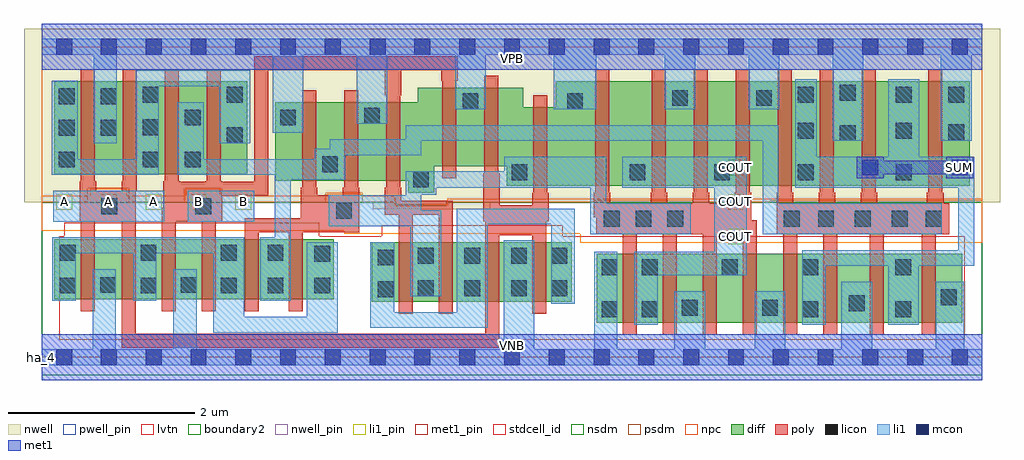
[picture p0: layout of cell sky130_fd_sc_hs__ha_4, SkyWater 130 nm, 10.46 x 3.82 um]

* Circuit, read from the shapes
.subckt sky130_fd_sc_hs__ha_4 A B COUT SUM VGND VNB VPB VPWR
XM1 VGND A n1 VNB sky130_fd_pr__nfet_01v8_lvt w=0.64 l=0.15 m=2
XM2 VGND B n1 VNB sky130_fd_pr__nfet_01v8_lvt w=0.64 l=0.15 m=2
XM3 n2 n3 n1 VNB sky130_fd_pr__nfet_01v8_lvt w=0.64 l=0.15 m=2
XM4 n3 B n4 VNB sky130_fd_pr__nfet_01v8_lvt w=0.64 l=0.15 m=2
XM5 VGND A n4 VNB sky130_fd_pr__nfet_01v8_lvt w=0.64 l=0.15 m=2
XM6 COUT n3 VGND VNB sky130_fd_pr__nfet_01v8_lvt w=0.74 l=0.15 m=4
XM7 SUM n2 VGND VNB sky130_fd_pr__nfet_01v8_lvt w=0.74 l=0.15 m=4
XM8 VPWR A n5 VPB sky130_fd_pr__pfet_01v8 w=1 l=0.15 m=2
XM9 n2 B n5 VPB sky130_fd_pr__pfet_01v8 w=1 l=0.15 m=2
XM10 n2 n3 VPWR VPB sky130_fd_pr__pfet_01v8 w=0.84 l=0.15 m=2
XM11 n3 B VPWR VPB sky130_fd_pr__pfet_01v8 w=0.84 l=0.15 m=2
XM12 n3 A VPWR VPB sky130_fd_pr__pfet_01v8 w=0.84 l=0.15 m=2
XM13 COUT n3 VPWR VPB sky130_fd_pr__pfet_01v8 w=1.12 l=0.15 m=4
XM14 SUM n2 VPWR VPB sky130_fd_pr__pfet_01v8 w=1.12 l=0.15 m=4
.ends

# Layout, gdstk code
import gdstk
lib = gdstk.Library(unit=1e-6, precision=1e-09)
def R(c, l, rs):  # rectangles x0, y0, x1, y1
    for r in rs: c.add(gdstk.rectangle(r[:2], r[2:], *l))
def A(c, l, x, y, w, h, nx, ny, dx, dy):  # array of equal rectangles
    R(c, l, [(x+i*dx, y+j*dy, x+i*dx+w, y+j*dy+h) for i in range(nx) for j in range(ny)])
def P(c, l, *ps):  # polygons
    for p in ps: c.add(gdstk.Polygon(p, *l))
nwell_pin = (64, 16)
nwell = (64, 20)
diff = (65, 20)
poly = (66, 20)
licon = (66, 44)
li1_pin = (67, 16)
li1 = (67, 20)
mcon = (67, 44)
met1_pin = (68, 16)
met1 = (68, 20)
stdcell_id = (81, 4)
nsdm = (93, 44)
psdm = (94, 20)
npc = (95, 20)
pwell_pin = (122, 16)
lvtn = (125, 44)
boundary2 = (236, 0)

sky130_fd_sc_hs__ha_4 = lib.new_cell('sky130_fd_sc_hs__ha_4')
R(sky130_fd_sc_hs__ha_4, nwell_pin, [(0,3.085,10.08,3.33)])
P(sky130_fd_sc_hs__ha_4, nwell, [(10.27,3.52),(-0.19,3.52),(-0.19,1.66),(3.545,1.66),(3.545,1.585),(4.805,1.585),(4.805,1.66),(10.27,1.66)])
R(sky130_fd_sc_hs__ha_4, diff, [(5.95,0.37,9.865,1.11), (3.535,0.595,5.68,1.235), (0.135,0.625,3.13,1.265), (0.135,1.96,2.205,2.96)])
P(sky130_fd_sc_hs__ha_4, diff, [(9.945,2.96),(5.51,2.96),(5.51,2.68),(5.16,2.68),(5.16,2.89),(4.03,2.89),(4.03,2.735),(2.505,2.735),(2.505,1.895),(3.93,1.895),(3.93,1.765),(4.205,1.765),(4.205,2.05),(4.985,2.05),(4.985,1.84),(9.945,1.84)])
P(sky130_fd_sc_hs__ha_4, poly, [(3.405,1.82),(3.39,1.82),(3.39,2.865),(3.24,2.865),(3.24,1.82),(3.225,1.82),(3.225,1.735),(2.955,1.735),(2.955,1.82),(2.94,1.82),(2.94,2.865),(2.79,2.865),(2.79,1.82),(2.775,1.82),(2.775,1.49),(2.175,1.49),(2.175,0.495),(2.325,0.495),(2.325,1.34),(2.645,1.34),(2.645,0.495),(2.795,0.495),(2.795,1.34),(3.405,1.34)],
  [(4.46,3.225),(2.28,3.225),(2.28,1.88),(1.935,1.88),(1.935,1.885),(1.92,1.885),(1.92,3.09),(1.77,3.09),(1.77,1.885),(1.755,1.885),(1.755,1.88),(1.485,1.88),(1.485,1.885),(1.47,1.885),(1.47,3.09),(1.32,3.09),(1.32,1.885),(1.305,1.885),(1.305,1.605),(1.285,1.605),(1.285,0.495),(1.435,0.495),(1.435,1.455),(1.715,1.455),(1.715,0.495),(1.865,0.495),(1.865,1.455),(1.935,1.455),(1.935,1.73),(2.43,1.73),(2.43,3.075),(3.675,3.075),(3.675,2.81),(3.69,2.81),(3.69,1.82),(3.675,1.82),(3.675,1.53),(3.825,1.53),(3.825,0.465),(3.975,0.465),(3.975,1.53),(4.255,1.53),(4.255,0.465),(4.405,0.465),(4.405,1.68),(3.855,1.68),(3.855,1.82),(3.84,1.82),(3.84,2.81),(3.855,2.81),(3.855,3.075),(4.28,3.075),(4.28,2.965),(4.295,2.965),(4.295,1.92),(4.445,1.92),(4.445,2.965),(4.46,2.965)],
  [(5.435,1.765),(5.42,1.765),(5.42,2.81),(5.27,2.81),(5.27,1.765),(5.255,1.765),(5.255,1.63),(4.91,1.63),(4.91,1.975),(4.895,1.975),(4.895,3.02),(4.745,3.02),(4.745,1.975),(4.73,1.975),(4.73,1.46),(4.755,1.46),(4.755,0.255),(1.005,0.255),(1.005,1.785),(1.02,1.785),(1.02,3.09),(0.87,3.09),(0.87,1.885),(0.855,1.885),(0.855,1.785),(0.585,1.785),(0.585,1.885),(0.57,1.885),(0.57,3.09),(0.42,3.09),(0.42,1.885),(0.405,1.885),(0.405,1.455),(0.42,1.455),(0.42,0.495),(0.57,0.495),(0.57,1.455),(0.855,1.455),(0.855,0.105),(4.905,0.105),(4.905,1.31),(5.255,1.31),(5.255,0.465),(5.405,0.465),(5.405,1.46),(5.435,1.46)],
  [(7.665,1.47),(7.605,1.47),(7.605,1.765),(7.59,1.765),(7.59,3.09),(7.44,3.09),(7.44,1.765),(7.425,1.765),(7.425,1.65),(7.155,1.65),(7.155,1.765),(7.14,1.765),(7.14,3.09),(6.99,3.09),(6.99,1.765),(6.975,1.765),(6.975,1.65),(6.705,1.65),(6.705,1.765),(6.69,1.765),(6.69,3.09),(6.54,3.09),(6.54,1.765),(6.525,1.765),(6.525,1.65),(6.095,1.65),(6.095,1.765),(6.08,1.765),(6.08,3.09),(5.93,3.09),(5.93,1.765),(5.915,1.765),(5.915,1.5),(5.945,1.5),(5.945,1.32),(6.225,1.32),(6.225,0.24),(6.375,0.24),(6.375,1.32),(6.655,1.32),(6.655,0.24),(6.805,0.24),(6.805,1.32),(7.085,1.32),(7.085,0.24),(7.235,0.24),(7.235,1.32),(7.515,1.32),(7.515,0.24),(7.665,0.24)],
  [(9.725,1.65),(9.665,1.65),(9.665,1.765),(9.65,1.765),(9.65,3.09),(9.5,3.09),(9.5,1.765),(9.485,1.765),(9.485,1.65),(8.955,1.65),(8.955,1.765),(8.94,1.765),(8.94,3.09),(8.79,3.09),(8.79,1.765),(8.775,1.765),(8.775,1.65),(8.505,1.65),(8.505,1.765),(8.49,1.765),(8.49,3.09),(8.34,3.09),(8.34,1.765),(8.325,1.765),(8.325,1.65),(8.055,1.65),(8.055,1.765),(8.04,1.765),(8.04,3.09),(7.89,3.09),(7.89,1.765),(7.875,1.765),(7.875,1.32),(7.945,1.32),(7.945,0.24),(8.095,0.24),(8.095,1.32),(8.375,1.32),(8.375,0.24),(8.525,0.24),(8.525,1.32),(8.875,1.32),(8.875,0.24),(9.025,0.24),(9.025,1.32),(9.43,1.32),(9.43,0.24),(9.58,0.24),(9.58,1.32),(9.725,1.32)])
A(sky130_fd_sc_hs__ha_4, licon, 4.03, 0.655, 0.17, 0.17, 3, 2, 0.5, 0.35)
A(sky130_fd_sc_hs__ha_4, licon, 1.92, 0.685, 0.17, 0.17, 3, 1, 0.5, 0)
A(sky130_fd_sc_hs__ha_4, licon, 6.43, 0.88, 0.17, 0.17, 3, 1, 0.86, 0)
A(sky130_fd_sc_hs__ha_4, licon, 6.025, 1.4, 0.17, 0.17, 3, 1, 0.34, 0)
A(sky130_fd_sc_hs__ha_4, licon, 8.32, 1.4, 0.17, 0.17, 3, 1, 0.395, 0)
A(sky130_fd_sc_hs__ha_4, licon, 0.185, 2.035, 0.17, 0.17, 1, 3, 0, 0.34)
R(sky130_fd_sc_hs__ha_4, licon, [(6,0.43,6.17,0.6), (6.43,0.43,6.6,0.6), (8.15,0.43,8.32,0.6), (9.15,0.43,9.32,0.6), (6.86,0.445,7.03,0.615), (7.72,0.445,7.89,0.615), (8.65,0.495,8.82,0.665), (9.635,0.56,9.805,0.73), (3.6,0.645,3.77,0.815), (5.46,0.655,5.63,0.825), (0.195,0.685,0.365,0.855), (1.06,0.685,1.23,0.855), (0.625,0.69,0.795,0.86), (1.49,0.69,1.66,0.86), (6,0.88,6.17,1.05), (9.15,0.88,9.32,1.05), (3.6,0.985,3.77,1.155), (5.46,1.005,5.63,1.175), (2.92,1.025,3.09,1.195), (0.195,1.035,0.365,1.205), (1.06,1.035,1.23,1.205), (1.92,1.035,2.09,1.205), (2.42,1.035,2.59,1.205), (7.955,1.4,8.125,1.57), (9.475,1.4,9.645,1.57), (3.155,1.485,3.325,1.655), (0.64,1.535,0.81,1.705), (1.645,1.535,1.815,1.705), (3.98,1.825,4.15,1.995), (5.035,1.9,5.205,2.07), (6.3,1.9,6.47,2.07), (7.205,1.9,7.375,2.07), (8.105,1.9,8.275,2.07), (9.155,1.9,9.325,2.07), (3.005,1.985,3.175,2.155), (1.085,2.035,1.255,2.205), (1.535,2.035,1.705,2.205), (1.985,2.295,2.155,2.465), (8.555,2.32,8.725,2.49), (9.715,2.33,9.885,2.5), (8.105,2.345,8.275,2.515), (9.155,2.345,9.325,2.515), (0.635,2.375,0.805,2.545), (1.085,2.38,1.255,2.55), (1.535,2.485,1.705,2.655), (2.555,2.485,2.725,2.655), (3.455,2.505,3.625,2.675), (4.51,2.66,4.68,2.83), (5.63,2.66,5.8,2.83), (6.755,2.695,6.925,2.865), (7.655,2.695,7.825,2.865), (0.635,2.715,0.805,2.885), (1.085,2.73,1.255,2.9), (1.985,2.73,2.155,2.9), (8.105,2.73,8.275,2.9), (9.155,2.73,9.325,2.9), (9.715,2.73,9.885,2.9), (8.555,2.75,8.725,2.92)])
A(sky130_fd_sc_hs__ha_4, li1_pin, 7.355, 1.21, 0.17, 0.17, 1, 3, 0, 0.37)
A(sky130_fd_sc_hs__ha_4, li1_pin, 0.155, 1.58, 0.17, 0.17, 5, 1, 0.48, 0)
R(sky130_fd_sc_hs__ha_4, li1, [(0.125,1.455,1.315,1.785), (1.565,1.455,2.275,1.785)])
P(sky130_fd_sc_hs__ha_4, li1, [(2.235,3.075),(1.005,3.075),(1.005,2.125),(0.385,2.125),(0.385,2.965),(0.105,2.965),(0.105,1.955),(1.255,1.955),(1.255,2.905),(1.905,2.905),(1.905,2.295),(2.235,2.295)],
  [(3.17,1.235),(2.84,1.235),(2.84,0.435),(2.17,0.435),(2.17,1.285),(0.115,1.285),(0.115,0.605),(0.365,0.605),(0.365,1.115),(0.98,1.115),(0.98,0.605),(1.23,0.605),(1.23,1.115),(1.84,1.115),(1.84,0.265),(3.17,0.265)],
  [(5.71,1.595),(4.45,1.595),(4.45,0.485),(3.78,0.485),(3.78,1.235),(3.52,1.235),(3.52,0.315),(4.78,0.315),(4.78,1.425),(5.46,1.425),(5.46,0.575),(5.71,0.575)],
  [(10.08,3.415),(0,3.415),(0,3.245),(0.555,3.245),(0.555,2.295),(0.805,2.295),(0.805,3.245),(2.475,3.245),(2.475,2.405),(2.805,2.405),(2.805,3.245),(3.375,3.245),(3.375,2.505),(3.705,2.505),(3.705,3.245),(4.43,3.245),(4.43,2.66),(4.76,2.66),(4.76,3.245),(5.49,3.245),(5.49,2.66),(5.945,2.66),(5.945,3.245),(6.675,3.245),(6.675,2.66),(7.005,2.66),(7.005,3.245),(7.575,3.245),(7.575,2.66),(7.905,2.66),(7.905,3.245),(8.475,3.245),(8.475,2.32),(8.805,2.32),(8.805,3.245),(9.635,3.245),(9.635,2.32),(9.965,2.32),(9.965,3.245),(10.08,3.245)],
  [(6.955,1.65),(6.05,1.65),(6.05,2.15),(4.955,2.15),(4.955,1.995),(3.9,1.995),(3.9,1.735),(3.075,1.735),(3.075,1.405),(3.95,1.405),(3.95,0.655),(4.28,0.655),(4.28,1.575),(4.07,1.575),(4.07,1.745),(4.23,1.745),(4.23,1.82),(5.88,1.82),(5.88,1.32),(6.955,1.32)],
  [(7.555,2.15),(6.22,2.15),(6.22,1.82),(7.21,1.82),(7.21,1.13),(6.35,1.13),(6.35,0.35),(6.6,0.35),(6.6,0.88),(7.555,0.88)],
  [(9.995,2.15),(9.405,2.15),(9.405,2.98),(9.075,2.98),(9.075,2.15),(8.305,2.15),(8.305,2.98),(8.075,2.98),(8.075,1.82),(9.825,1.82),(9.825,1.15),(8.15,1.15),(8.15,0.35),(8.4,0.35),(8.4,0.98),(9.07,0.98),(9.07,0.35),(9.4,0.35),(9.4,0.98),(9.995,0.98)],
  [(9.645,1.65),(7.895,1.65),(7.895,2.49),(3.9,2.49),(3.9,2.335),(3.085,2.335),(3.085,2.235),(2.925,2.235),(2.925,2.125),(1.735,2.125),(1.735,2.735),(1.455,2.735),(1.455,1.955),(2.5,1.955),(2.5,1.285),(2.34,1.285),(2.34,0.605),(2.67,0.605),(2.67,1.905),(3.255,1.905),(3.255,2.165),(4.07,2.165),(4.07,2.32),(7.725,2.32),(7.725,1.32),(9.645,1.32)],
  [(10.08,0.085),(9.885,0.085),(9.885,0.81),(9.58,0.81),(9.58,0.085),(8.9,0.085),(8.9,0.81),(8.57,0.81),(8.57,0.085),(7.97,0.085),(7.97,0.71),(7.64,0.71),(7.64,0.085),(7.11,0.085),(7.11,0.71),(6.78,0.71),(6.78,0.085),(6.17,0.085),(6.17,1.13),(5.92,1.13),(5.92,0.085),(5.28,0.085),(5.28,1.255),(4.95,1.255),(4.95,0.085),(1.66,0.085),(1.66,0.945),(1.41,0.945),(1.41,0.085),(0.795,0.085),(0.795,0.945),(0.545,0.945),(0.545,0.085),(0,0.085),(0,-0.085),(10.08,-0.085)])
A(sky130_fd_sc_hs__ha_4, mcon, 0.155, -0.085, 0.17, 0.17, 21, 2, 0.48, 3.33)
R(sky130_fd_sc_hs__ha_4, mcon, [(8.795,1.95,8.965,2.12), (9.755,1.95,9.925,2.12)])
R(sky130_fd_sc_hs__ha_4, met1_pin, [(0,0,10.08,0.245), (9.755,1.95,9.925,2.12), (0,3.085,10.08,3.33)])
R(sky130_fd_sc_hs__ha_4, met1, [(0,-0.245,10.08,0.245), (0,3.085,10.08,3.575)])
P(sky130_fd_sc_hs__ha_4, met1, [(9.985,2.15),(9.695,2.15),(9.695,2.105),(9.025,2.105),(9.025,2.15),(8.735,2.15),(8.735,1.92),(9.025,1.92),(9.025,1.965),(9.695,1.965),(9.695,1.92),(9.985,1.92)])
R(sky130_fd_sc_hs__ha_4, stdcell_id, [(0,0,10.08,3.33)])
P(sky130_fd_sc_hs__ha_4, nsdm, [(10.08,1.66),(4.335,1.66),(4.335,1.635),(3.8,1.635),(3.8,1.66),(0,1.66),(0,-0.19),(10.08,-0.19)])
P(sky130_fd_sc_hs__ha_4, psdm, [(10.08,3.52),(0,3.52),(0,1.66),(0.495,1.66),(0.495,1.815),(0.93,1.815),(0.93,1.66),(1.535,1.66),(1.535,1.815),(1.925,1.815),(1.925,1.66),(3.045,1.66),(3.045,1.765),(3.435,1.765),(3.435,1.66),(3.8,1.66),(3.8,1.635),(4.335,1.635),(4.335,1.66),(5.915,1.66),(5.915,1.68),(6.985,1.68),(6.985,1.66),(7.8,1.66),(7.8,1.68),(10.08,1.68)])
P(sky130_fd_sc_hs__ha_4, npc, [(10.08,1.7),(4.345,1.7),(4.345,1.625),(3.79,1.625),(3.79,1.73),(3.425,1.73),(3.425,1.755),(3.055,1.755),(3.055,1.73),(1.915,1.73),(1.915,1.805),(1.545,1.805),(1.545,1.73),(0.91,1.73),(0.91,1.805),(0.52,1.805),(0.52,1.73),(0,1.73),(0,1.355),(3.24,1.355),(3.24,1.325),(5.77,1.325),(5.77,1.23),(10.08,1.23)])
R(sky130_fd_sc_hs__ha_4, pwell_pin, [(0,0,10.08,0.245)])
P(sky130_fd_sc_hs__ha_4, lvtn, [(9.89,1.3),(5.585,1.3),(5.585,1.415),(3.645,1.415),(3.645,1.3),(2.975,1.3),(2.975,1.445),(0.24,1.445),(0.24,1.3),(0.19,1.3),(0.19,0.19),(9.89,0.19)])
R(sky130_fd_sc_hs__ha_4, boundary2, [(0,0,10.08,3.33)])
sky130_fd_sc_hs__ha_4.add(gdstk.Label('ha_4', (0,0), layer=83, texttype=44))
sky130_fd_sc_hs__ha_4.add(gdstk.Label('VNB', (5.04,0.123), layer=64, texttype=59))
sky130_fd_sc_hs__ha_4.add(gdstk.Label('VPB', (5.04,3.208), layer=64, texttype=5))
sky130_fd_sc_hs__ha_4.add(gdstk.Label('SUM', (9.84,2.035), layer=68, texttype=5))
sky130_fd_sc_hs__ha_4.add(gdstk.Label('VPWR', (5.04,3.208), layer=68, texttype=5))
sky130_fd_sc_hs__ha_4.add(gdstk.Label('VGND', (5.04,0.123), layer=68, texttype=5))
sky130_fd_sc_hs__ha_4.add(gdstk.Label('COUT', (7.44,1.295), layer=67, texttype=5))
sky130_fd_sc_hs__ha_4.add(gdstk.Label('COUT', (7.44,1.665), layer=67, texttype=5))
sky130_fd_sc_hs__ha_4.add(gdstk.Label('COUT', (7.44,2.035), layer=67, texttype=5))
sky130_fd_sc_hs__ha_4.add(gdstk.Label('B', (1.68,1.665), layer=67, texttype=5))
sky130_fd_sc_hs__ha_4.add(gdstk.Label('B', (2.16,1.665), layer=67, texttype=5))
sky130_fd_sc_hs__ha_4.add(gdstk.Label('A', (0.24,1.665), layer=67, texttype=5))
sky130_fd_sc_hs__ha_4.add(gdstk.Label('A', (0.72,1.665), layer=67, texttype=5))
sky130_fd_sc_hs__ha_4.add(gdstk.Label('A', (1.2,1.665), layer=67, texttype=5))

lib.write_gds('sky130_fd_sc_hs__ha_4.gds')
